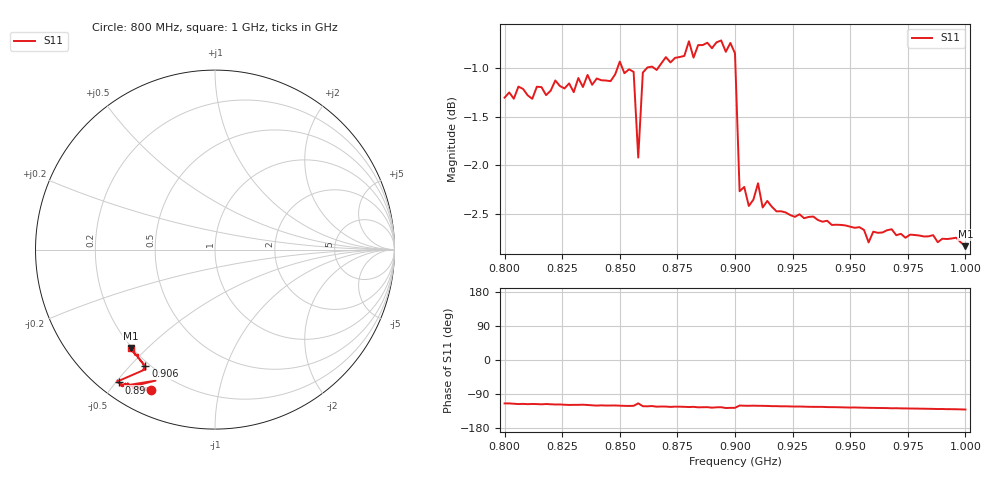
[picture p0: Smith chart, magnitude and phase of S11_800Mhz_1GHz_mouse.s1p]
# HZ S RI R 50
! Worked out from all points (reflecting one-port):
!   101 points, 800 MHz to 1 GHz, reference 50 ohm
!   lowest |S11| = -2.8 dB at 1 GHz (marker M1), VSWR 6.19, Z = 9.73 - j22.2 ohm
!   phase of S11 starts at -115 deg and turns -16 deg over the sweep
!   S11 on the Smith chart (normalised r, x): 800 MHz: 0.11, -0.64; 890 MHz: 0.06, -0.51; 906 MHz: 0.18, -0.55; 1 GHz: 0.19, -0.44
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8e8  -0.3576 -0.7829
8.06e8  -0.3868 -0.7815
8.16e8  -0.3944 -0.7772
8.18e8  -0.3809 -0.7747
8.26e8  -0.4092 -0.7679
8.34e8  -0.4089 -0.7697
8.4e8  -0.4446 -0.7599
8.5e8  -0.4561 -0.7739
8.56e8  -0.456 -0.7613
8.58e8  -0.3312 -0.7301
8.6e8  -0.4692 -0.7523
8.76e8  -0.4949 -0.7554
8.8e8  -0.516 -0.7618
8.82e8  -0.4997 -0.7515
8.84e8  -0.5237 -0.7515
8.88e8  -0.5195 -0.7575
8.9e8  -0.5338 -0.7402
8.94e8  -0.5231 -0.758
8.96e8  -0.5435 -0.7283
9e8  -0.5362 -0.7316
9.02e8  -0.3867 -0.6663
9.06e8  -0.388 -0.65
9.1e8  -0.3988 -0.6677
9.12e8  -0.3889 -0.648
9.26e8  -0.4053 -0.6279
9.5e8  -0.4282 -0.6019
9.76e8  -0.4511 -0.5763
1e9  -0.4703 -0.5477
